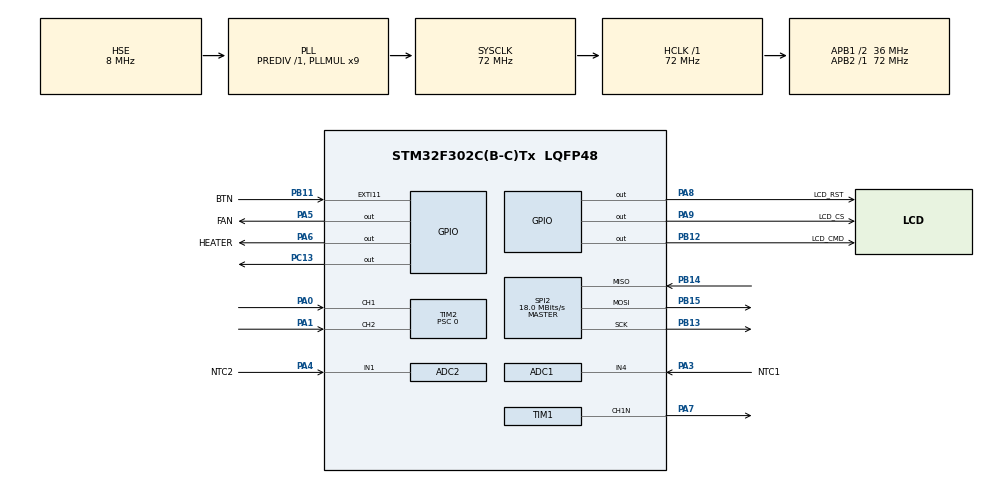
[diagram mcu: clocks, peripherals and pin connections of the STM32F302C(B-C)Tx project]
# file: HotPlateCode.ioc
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ADC1.Channel-3\#ChannelRegularConversion=ADC_CHANNEL_4
ADC1.ContinuousConvMode=ENABLE
ADC1.DMAContinuousRequests=ENABLE
ADC1.NbrOfConversion=1
ADC1.NbrOfConversionFlag=1
ADC1.Offset-3\#ChannelRegularConversion=0
ADC1.OffsetNumber-3\#ChannelRegularConversion=ADC_OFFSET_NONE
ADC1.Rank-3\#ChannelRegularConversion=1
ADC1.SamplingTime-3\#ChannelRegularConversion=ADC_SAMPLETIME_1CYCLE_5
ADC1.SamplingTimeOPAMP-3\#ChannelRegularConversion=ADC_SAMPLETIME_61CYCLES_5
ADC1.master=1
ADC2.Channel-2\#ChannelRegularConversion=ADC_CHANNEL_1
ADC2.ContinuousConvMode=ENABLE
ADC2.DMAContinuousRequests=ENABLE
ADC2.NbrOfConversionFlag=1
ADC2.Offset-2\#ChannelRegularConversion=0
ADC2.OffsetNumber-2\#ChannelRegularConversion=ADC_OFFSET_NONE
ADC2.Rank-2\#ChannelRegularConversion=1
ADC2.SamplingTime-2\#ChannelRegularConversion=ADC_SAMPLETIME_1CYCLE_5
ADC2.SamplingTimeOPAMP-2\#ChannelRegularConversion=ADC_SAMPLETIME_61CYCLES_5
Dma.ADC1.1.Direction=DMA_PERIPH_TO_MEMORY
Dma.ADC1.1.Instance=DMA1_Channel1
Dma.ADC1.1.MemDataAlignment=DMA_MDATAALIGN_HALFWORD
Dma.ADC1.1.MemInc=DMA_MINC_ENABLE
Dma.ADC1.1.Mode=DMA_CIRCULAR
Dma.ADC1.1.PeriphDataAlignment=DMA_PDATAALIGN_HALFWORD
Dma.ADC1.1.PeriphInc=DMA_PINC_DISABLE
Dma.ADC1.1.Priority=DMA_PRIORITY_LOW
Dma.ADC2.2.Direction=DMA_PERIPH_TO_MEMORY
Dma.ADC2.2.Instance=DMA2_Channel1
Dma.ADC2.2.MemDataAlignment=DMA_MDATAALIGN_HALFWORD
Dma.ADC2.2.MemInc=DMA_MINC_ENABLE
Dma.ADC2.2.Mode=DMA_CIRCULAR
Dma.ADC2.2.PeriphDataAlignment=DMA_PDATAALIGN_HALFWORD
Dma.ADC2.2.PeriphInc=DMA_PINC_DISABLE
Dma.ADC2.2.Priority=DMA_PRIORITY_LOW
Dma.Request0=SPI2_TX
Dma.Request1=ADC1
Dma.Request2=ADC2
Dma.SPI2_TX.0.Direction=DMA_MEMORY_TO_PERIPH
Dma.SPI2_TX.0.Instance=DMA1_Channel5
Dma.SPI2_TX.0.MemDataAlignment=DMA_MDATAALIGN_BYTE
Dma.SPI2_TX.0.MemInc=DMA_MINC_ENABLE
Dma.SPI2_TX.0.Mode=DMA_NORMAL
Dma.SPI2_TX.0.PeriphDataAlignment=DMA_PDATAALIGN_BYTE
Dma.SPI2_TX.0.PeriphInc=DMA_PINC_DISABLE
Dma.SPI2_TX.0.Priority=DMA_PRIORITY_LOW
Mcu.Family=STM32F3
Mcu.Name=STM32F302C(B-C)Tx
Mcu.Package=LQFP48
NVIC.DMA1_Channel1_IRQn=true\:0\:0\:false\:false\:true\:false\:true\:true
NVIC.DMA1_Channel5_IRQn=true\:0\:0\:false\:false\:true\:false\:true\:true
NVIC.DMA2_Channel1_IRQn=true\:0\:0\:false\:false\:true\:false\:true\:true
NVIC.EXTI15_10_IRQn=true\:0\:0\:false\:false\:true\:true\:true\:true
NVIC.PriorityGroup=NVIC_PRIORITYGROUP_4
NVIC.TIM4_IRQn=true\:0\:0\:false\:false\:true\:true\:true\:true
PA0.Signal=S_TIM2_CH1_ETR
PA1.Signal=S_TIM2_CH2
PA13.Mode=Trace_Asynchronous_SW
PA13.Signal=SYS_JTMS-SWDIO
PA14.Mode=Trace_Asynchronous_SW
PA14.Signal=SYS_JTCK-SWCLK
PA3.GPIO_Label=NTC1
PA3.Mode=IN4-Single-Ended
PA3.Signal=ADC1_IN4
PA4.GPIO_Label=NTC2
PA4.Mode=IN1-Single-Ended
PA4.Signal=ADC2_IN1
PA5.GPIO_Label=FAN
PA5.Signal=GPIO_Output
PA6.GPIO_Label=HEATER
PA6.Signal=GPIO_Output
PA7.Mode=PWM Generation1 CH1N
PA7.Signal=TIM1_CH1N
PA8.GPIO_Label=LCD_RST
PA8.Signal=GPIO_Output
PA9.GPIO_Label=LCD_CS
PA9.Signal=GPIO_Output
PB11.GPIO_Label=BTN
PB11.Signal=GPXTI11
PB12.GPIO_Label=LCD_CMD
PB12.Signal=GPIO_Output
PB13.Mode=Full_Duplex_Master
PB13.Signal=SPI2_SCK
PB14.Mode=Full_Duplex_Master
PB14.Signal=SPI2_MISO
PB15.Mode=Full_Duplex_Master
PB15.Signal=SPI2_MOSI
PB3.Mode=Trace_Asynchronous_SW
PB3.Signal=SYS_JTDO-TRACESWO
PC13.Signal=GPIO_Output
PF0-OSC_IN.Mode=HSE-External-Oscillator
PF0-OSC_IN.Signal=RCC_OSC_IN
PF1-OSC_OUT.Mode=HSE-External-Oscillator
PF1-OSC_OUT.Signal=RCC_OSC_OUT
ProjectManager.HeapSize=0x200
ProjectManager.StackSize=0x400
ProjectManager.TargetToolchain=MDK-ARM V5.32
RCC.AHBFreq_Value=72000000
RCC.APB1CLKDivider=RCC_HCLK_DIV2
RCC.APB1Freq_Value=36000000
RCC.APB1TimFreq_Value=72000000
RCC.APB2Freq_Value=72000000
RCC.APB2TimFreq_Value=72000000
RCC.CortexFreq_Value=72000000
RCC.HCLKFreq_Value=72000000
RCC.HSE_VALUE=8000000
RCC.HSI_VALUE=8000000
RCC.LSE_VALUE=32768
RCC.PLLMUL=RCC_PLL_MUL9
RCC.PLLSourceVirtual=RCC_PLLSOURCE_HSE
RCC.SYSCLKFreq_VALUE=72000000
RCC.SYSCLKSourceVirtual=RCC_SYSCLKSOURCE_PLLCLK
RCC.USBFreq_Value=72000000
SH.S_TIM2_CH1_ETR.0=TIM2_CH1,Encoder_Interface
SH.S_TIM2_CH2.0=TIM2_CH2,Encoder_Interface
SPI2.BaudRatePrescaler=SPI_BAUDRATEPRESCALER_2
SPI2.CalculateBaudRate=18.0 MBits/s
SPI2.DataSize=SPI_DATASIZE_8BIT
SPI2.Direction=SPI_DIRECTION_2LINES
SPI2.Mode=SPI_MODE_MASTER
SPI2.VirtualType=VM_MASTER
TIM1.AutoReloadPreload=TIM_AUTORELOAD_PRELOAD_ENABLE
TIM1.Channel-PWM\ Generation1\ CH1N=TIM_CHANNEL_1
TIM1.Period=499
TIM1.Prescaler=71
TIM2.AutoReloadPreload=TIM_AUTORELOAD_PRELOAD_ENABLE
TIM2.EncoderMode=TIM_ENCODERMODE_TI12
TIM2.IC1Filter=10
TIM2.IC2Filter=10
TIM2.Period=95
TIM2.Prescaler=0
TIM4.Period=1999
TIM4.Prescaler=7199
VP_TIM4_VS_ClockSourceINT.Mode=Internal
board=custom

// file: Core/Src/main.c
/* USER CODE BEGIN Header */
/**
  ******************************************************************************
  * @file           : main.c
  * @brief          : Main program body
  ******************************************************************************
  * @attention
  *
  * Copyright (c) 2023 STMicroelectronics.
  * All rights reserved.
  *
  * This software is licensed under terms that can be found in the LICENSE file
  * in the root directory of this software component.
  * If no LICENSE file comes with this software, it is provided AS-IS.
  *
  ******************************************************************************
  */
/* USER CODE END Header */
#include "main.h"
#include "adc.h"
#include "dma.h"
#include "spi.h"
#include "tim.h"
#include "gpio.h"

/* USER CODE BEGIN Includes */
#include "Reflow.h"
#include "ST7735.h"
#include <stdio.h>
/* USER CODE END Includes */

/* USER CODE BEGIN PV */
extern volatile uint8_t BtnPressed;
extern volatile float crtTemp;
const uint8_t encoderPeriod = 50; // Read the encoder keys every 50ms
uint32_t encTime;
#ifdef AUTOTUNE
	extern float autotuneSetpoint;
#endif
/* USER CODE END PV */

void SystemClock_Config(void);
/* USER CODE BEGIN PFP */
void drawMenu(uint8_t menuIdx);
void Menu_Main();
void Menu_Rework();
void changeValue();
void refreshMenu();
/* USER CODE END PFP */

int main(void)
{

  /* MCU Configuration--------------------------------------------------------*/

  /* Reset of all peripherals, Initializes the Flash interface and the Systick. */
  HAL_Init();

  /* Configure the system clock */
  SystemClock_Config();

  /* Initialize all configured peripherals */
  MX_GPIO_Init();
  MX_DMA_Init();
  MX_SPI2_Init();
  MX_TIM2_Init();
  MX_ADC1_Init();
  MX_ADC2_Init();
  MX_TIM1_Init();
  MX_TIM4_Init();
  /* USER CODE BEGIN 2 */
	// Start LCD
	ST7735_Unselect;
	ST7735_Init(1);
	fillScreen(BLACK);
	//Start Encoder timer
	HAL_TIM_Encoder_Start_IT(&htim2, TIM_CHANNEL_ALL);
	// Set Buzzer duty cycle
	htim1.Instance->CCR1 = 250;//Duty Cycle%*20
	// Draw the Main menu

	#ifdef AUTOTUNE
		// START ADC to be able to get the temperature
		startADC();
		// This is the target temperature to tune PID parameters
		autotuneSetpoint = 50.0;
	#else
		Menu_Main();
	#endif

  /* USER CODE END 2 */

  /* Infinite loop */
  /* USER CODE BEGIN WHILE */
  while (1)
  {
		#ifdef AUTOTUNE
			// Perform PID autotuning
			autotunePID();
			// Perform temperature control using PID parameters
			TemperatureControl(autotuneSetpoint);
		#else
			Navigation();
		#endif
    /* USER CODE END WHILE */

  }
}

void SystemClock_Config(void)
{
  RCC_OscInitTypeDef RCC_OscInitStruct = {0};
  RCC_ClkInitTypeDef RCC_ClkInitStruct = {0};
  RCC_PeriphCLKInitTypeDef PeriphClkInit = {0};

  /** Initializes the RCC Oscillators according to the specified parameters
  * in the RCC_OscInitTypeDef structure.
  */
  RCC_OscInitStruct.OscillatorType = RCC_OSCILLATORTYPE_HSE;
  RCC_OscInitStruct.HSEState = RCC_HSE_ON;
  RCC_OscInitStruct.HSEPredivValue = RCC_HSE_PREDIV_DIV1;
  RCC_OscInitStruct.HSIState = RCC_HSI_ON;
  RCC_OscInitStruct.PLL.PLLState = RCC_PLL_ON;
  RCC_OscInitStruct.PLL.PLLSource = RCC_PLLSOURCE_HSE;
  RCC_OscInitStruct.PLL.PLLMUL = RCC_PLL_MUL9;
  if (HAL_RCC_OscConfig(&RCC_OscInitStruct) != HAL_OK)
  {
    Error_Handler();
  }

  /** Initializes the CPU, AHB and APB buses clocks
  */
  RCC_ClkInitStruct.ClockType = RCC_CLOCKTYPE_HCLK|RCC_CLOCKTYPE_SYSCLK
                              |RCC_CLOCKTYPE_PCLK1|RCC_CLOCKTYPE_PCLK2;
  RCC_ClkInitStruct.SYSCLKSource = RCC_SYSCLKSOURCE_PLLCLK;
  RCC_ClkInitStruct.AHBCLKDivider = RCC_SYSCLK_DIV1;
  RCC_ClkInitStruct.APB1CLKDivider = RCC_HCLK_DIV2;
  RCC_ClkInitStruct.APB2CLKDivider = RCC_HCLK_DIV1;

  if (HAL_RCC_ClockConfig(&RCC_ClkInitStruct, FLASH_LATENCY_2) != HAL_OK)
  {
    Error_Handler();
  }
  PeriphClkInit.PeriphClockSelection = RCC_PERIPHCLK_TIM1|RCC_PERIPHCLK_ADC12;
  PeriphClkInit.Adc12ClockSelection = RCC_ADC12PLLCLK_DIV1;
  PeriphClkInit.Tim1ClockSelection = RCC_TIM1CLK_HCLK;
  if (HAL_RCCEx_PeriphCLKConfig(&PeriphClkInit) != HAL_OK)
  {
    Error_Handler();
  }
}

void Error_Handler(void)
{
  __disable_irq();
  while (1)
  {
  }
}
